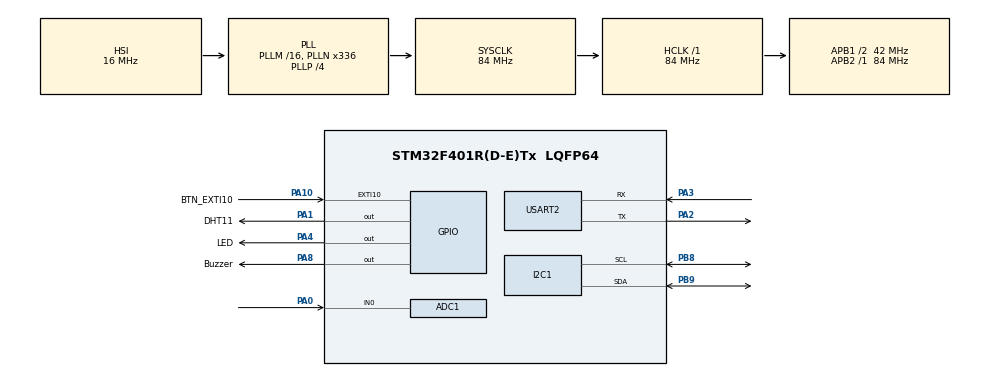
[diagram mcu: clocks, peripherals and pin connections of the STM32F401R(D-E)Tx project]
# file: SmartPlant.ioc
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ADC1.Channel-0\#ChannelRegularConversion=ADC_CHANNEL_0
ADC1.ContinuousConvMode=DISABLE
ADC1.NbrOfConversionFlag=1
ADC1.Rank-0\#ChannelRegularConversion=1
ADC1.SamplingTime-0\#ChannelRegularConversion=ADC_SAMPLETIME_3CYCLES
ADC1.master=1
FREERTOS.BinarySemaphores01=ButtonBinarySem,Dynamic,NULL,Available
FREERTOS.Events01=AlarmEvent,Dynamic,NULL
FREERTOS.Mutexes01=UartMutex,Dynamic,NULL,Available
FREERTOS.Queues01=LCDQueue,8,SensorMsg_t,0,Dynamic,NULL,NULL
FREERTOS.Tasks01=ButtonTask,40,128,StartButtonTask,Default,NULL,Dynamic,NULL,NULL;DebugTask,8,256,StartDebugTask,Default,NULL,Dynamic,NULL,NULL;WSTask,8,128,StartWSTask,Default,NULL,Dynamic,NULL,NULL;DHT11Task,8,256,StartDHT11Task,Default,NULL,Dynamic,NULL,NULL;LCDTask,8,256,StartLCDTask,Default,NULL,Dynamic,NULL,NULL;AlarmTask,40,128,StartAlarmTask,Default,NULL,Dynamic,NULL,NULL
FREERTOS.configUSE_NEWLIB_REENTRANT=1
Mcu.Family=STM32F4
Mcu.Name=STM32F401R(D-E)Tx
Mcu.Package=LQFP64
NVIC.EXTI15_10_IRQn=true\:5\:0\:false\:false\:true\:true\:true\:true\:true
NVIC.PriorityGroup=NVIC_PRIORITYGROUP_4
NVIC.TIM5_IRQn=true\:15\:0\:false\:false\:true\:false\:false\:true\:true
NVIC.TimeBase=TIM5_IRQn
NVIC.TimeBaseIP=TIM5
PA0-WKUP.Signal=ADCx_IN0
PA1.GPIO_Label=DHT11
PA1.GPIO_ModeDefaultOutputPP=GPIO_MODE_OUTPUT_OD
PA1.GPIO_PuPd=GPIO_NOPULL
PA1.GPIO_Speed=GPIO_SPEED_FREQ_HIGH
PA1.PinState=GPIO_PIN_SET
PA1.Signal=GPIO_Output
PA10.GPIO_Label=BTN_EXTI10
PA10.GPIO_ModeDefaultEXTI=GPIO_MODE_IT_FALLING
PA10.GPIO_PuPd=GPIO_PULLUP
PA10.Signal=GPXTI10
PA13.Mode=Serial_Wire
PA13.Signal=SYS_JTMS-SWDIO
PA14.Mode=Serial_Wire
PA14.Signal=SYS_JTCK-SWCLK
PA2.Mode=Asynchronous
PA2.Signal=USART2_TX
PA3.Mode=Asynchronous
PA3.Signal=USART2_RX
PA4.GPIO_Label=LED
PA4.Signal=GPIO_Output
PA8.GPIO_Label=Buzzer
PA8.Signal=GPIO_Output
PB8.Mode=I2C
PB8.Signal=I2C1_SCL
PB9.Mode=I2C
PB9.Signal=I2C1_SDA
PH0\ -\ OSC_IN.Mode=HSE-External-Oscillator
PH0\ -\ OSC_IN.Signal=RCC_OSC_IN
PH1\ -\ OSC_OUT.Mode=HSE-External-Oscillator
PH1\ -\ OSC_OUT.Signal=RCC_OSC_OUT
ProjectManager.HeapSize=0x200
ProjectManager.StackSize=0x400
ProjectManager.TargetToolchain=STM32CubeIDE
RCC.48MHZClocksFreq_Value=48000000
RCC.AHBFreq_Value=84000000
RCC.APB1CLKDivider=RCC_HCLK_DIV2
RCC.APB1Freq_Value=42000000
RCC.APB1TimFreq_Value=84000000
RCC.APB2Freq_Value=84000000
RCC.APB2TimFreq_Value=84000000
RCC.CortexFreq_Value=84000000
RCC.HCLKFreq_Value=84000000
RCC.HSE_VALUE=8000000
RCC.HSI_VALUE=16000000
RCC.LSE_VALUE=32768
RCC.PLLN=336
RCC.PLLP=RCC_PLLP_DIV4
RCC.PLLQ=7
RCC.SYSCLKFreq_VALUE=84000000
RCC.SYSCLKSource=RCC_SYSCLKSOURCE_PLLCLK
RCC.VCOOutputFreq_Value=336000000
SH.ADCx_IN0.0=ADC1_IN0,IN0
TIM1.Prescaler=84-1
USART2.VirtualMode=VM_ASYNC
VP_FREERTOS_VS_CMSIS_V2.Mode=CMSIS_V2
VP_SYS_VS_tim5.Mode=TIM5
VP_TIM1_VS_ClockSourceINT.Mode=Internal
board=NUCLEO-F401RE

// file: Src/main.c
/* USER CODE BEGIN Header */
/**
  ******************************************************************************
  * @file           : main.c
  * @brief          : Main program body
  ******************************************************************************
  * @attention
  *
  * Copyright (c) 2026 STMicroelectronics.
  * All rights reserved.
  *
  * This software is licensed under terms that can be found in the LICENSE file
  * in the root directory of this software component.
  * If no LICENSE file comes with this software, it is provided AS-IS.
  *
  ******************************************************************************
  */
/* USER CODE END Header */
#include "main.h"
#include "cmsis_os.h"

/* USER CODE BEGIN Includes */
#include "string.h"
#include <stdio.h>
#include "liquidcrystal_i2c.h"

#include "app_resources.h"
#include "lcd.h"
#include "water_level.h"
#include "dht11.h"
#include "led.h"
#include "buzzer.h"
#include "button.h"
/* USER CODE END Includes */

ADC_HandleTypeDef hadc1;

I2C_HandleTypeDef hi2c1;

TIM_HandleTypeDef htim1;

UART_HandleTypeDef huart2;

/* Definitions for ButtonTask */
osThreadId_t ButtonTaskHandle;
const osThreadAttr_t ButtonTask_attributes = {
  .name = "ButtonTask",
  .stack_size = 128 * 4,
  .priority = (osPriority_t) osPriorityHigh,
};
/* Definitions for DebugTask */
osThreadId_t DebugTaskHandle;
const osThreadAttr_t DebugTask_attributes = {
  .name = "DebugTask",
  .stack_size = 256 * 4,
  .priority = (osPriority_t) osPriorityLow,
};
/* Definitions for WSTask */
osThreadId_t WSTaskHandle;
const osThreadAttr_t WSTask_attributes = {
  .name = "WSTask",
  .stack_size = 128 * 4,
  .priority = (osPriority_t) osPriorityLow,
};
/* Definitions for DHT11Task */
osThreadId_t DHT11TaskHandle;
const osThreadAttr_t DHT11Task_attributes = {
  .name = "DHT11Task",
  .stack_size = 256 * 4,
  .priority = (osPriority_t) osPriorityLow,
};
/* Definitions for LCDTask */
osThreadId_t LCDTaskHandle;
const osThreadAttr_t LCDTask_attributes = {
  .name = "LCDTask",
  .stack_size = 256 * 4,
  .priority = (osPriority_t) osPriorityLow,
};
/* Definitions for AlarmTask */
osThreadId_t AlarmTaskHandle;
const osThreadAttr_t AlarmTask_attributes = {
  .name = "AlarmTask",
  .stack_size = 128 * 4,
  .priority = (osPriority_t) osPriorityHigh,
};
/* Definitions for LCDQueue */
osMessageQueueId_t LCDQueueHandle;
const osMessageQueueAttr_t LCDQueue_attributes = {
  .name = "LCDQueue"
};
/* Definitions for UartMutex */
osMutexId_t UartMutexHandle;
const osMutexAttr_t UartMutex_attributes = {
  .name = "UartMutex"
};
/* Definitions for ButtonBinarySem */
osSemaphoreId_t ButtonBinarySemHandle;
const osSemaphoreAttr_t ButtonBinarySem_attributes = {
  .name = "ButtonBinarySem"
};
/* Definitions for AlarmEvent */
osEventFlagsId_t AlarmEventHandle;
const osEventFlagsAttr_t AlarmEvent_attributes = {
  .name = "AlarmEvent"
};

void SystemClock_Config(void);
static void MX_GPIO_Init(void);
static void MX_USART2_UART_Init(void);
static void MX_I2C1_Init(void);
static void MX_ADC1_Init(void);
static void MX_TIM1_Init(void);
void StartButtonTask(void *argument);
void StartDebugTask(void *argument);
void StartWSTask(void *argument);
void StartDHT11Task(void *argument);
void StartLCDTask(void *argument);
void StartAlarmTask(void *argument);

/* USER CODE BEGIN 0 */
#ifdef __GNUC__
#define PUTCHAR_PROTOTYPE int __io_putchar(int ch)
#else
#define PUTCHAR_PROTOTYPE int fputc(int ch, FILE *f)
#endif

PUTCHAR_PROTOTYPE
{
	if(ch == '\n')
		HAL_UART_Transmit (&huart2, (uint8_t*) "\r", 1, 0xFFFF);
	HAL_UART_Transmit (&huart2, (uint8_t*) &ch, 1, 0xFFFF);

	return ch;
}
/* USER CODE END 0 */

int main(void)
{

  /* MCU Configuration--------------------------------------------------------*/

  /* Reset of all peripherals, Initializes the Flash interface and the Systick. */
  HAL_Init();

  /* Configure the system clock */
  SystemClock_Config();

  /* Initialize all configured peripherals */
  MX_GPIO_Init();
  MX_USART2_UART_Init();
  MX_I2C1_Init();
  MX_ADC1_Init();
  MX_TIM1_Init();
  /* USER CODE BEGIN 2 */
	WaterLevel_Init(&hadc1);
	DHT11_Init(&htim1);
	LCD_Init();
	Buzzer_set(0);
	Led_set(0);
  /* USER CODE END 2 */

  /* Init scheduler */
  osKernelInitialize();
  /* Create the mutex(es) */
  /* creation of UartMutex */
  UartMutexHandle = osMutexNew(&UartMutex_attributes);

  /* Create the semaphores(s) */
  /* creation of ButtonBinarySem */
  ButtonBinarySemHandle = osSemaphoreNew(1, 1, &ButtonBinarySem_attributes);

  /* Create the queue(s) */
  /* creation of LCDQueue */
  LCDQueueHandle = osMessageQueueNew (8, sizeof(SensorMsg_t), &LCDQueue_attributes);

  /* Create the thread(s) */
  /* creation of ButtonTask */
  ButtonTaskHandle = osThreadNew(StartButtonTask, NULL, &ButtonTask_attributes);

  /* creation of DebugTask */
  DebugTaskHandle = osThreadNew(StartDebugTask, NULL, &DebugTask_attributes);

  /* creation of WSTask */
  WSTaskHandle = osThreadNew(StartWSTask, NULL, &WSTask_attributes);

  /* creation of DHT11Task */
  DHT11TaskHandle = osThreadNew(StartDHT11Task, NULL, &DHT11Task_attributes);

  /* creation of LCDTask */
  LCDTaskHandle = osThreadNew(StartLCDTask, NULL, &LCDTask_attributes);

  /* creation of AlarmTask */
  AlarmTaskHandle = osThreadNew(StartAlarmTask, NULL, &AlarmTask_attributes);

  /* creation of AlarmEvent */
  AlarmEventHandle = osEventFlagsNew(&AlarmEvent_attributes);

  /* Start scheduler */
  osKernelStart();

  /* We should never get here as control is now taken by the scheduler */

  /* Infinite loop */
  while (1)
  {

  }
}

void SystemClock_Config(void)
{
  RCC_OscInitTypeDef RCC_OscInitStruct = {0};
  RCC_ClkInitTypeDef RCC_ClkInitStruct = {0};

  /** Configure the main internal regulator output voltage
  */
  __HAL_RCC_PWR_CLK_ENABLE();
  __HAL_PWR_VOLTAGESCALING_CONFIG(PWR_REGULATOR_VOLTAGE_SCALE2);

  /** Initializes the RCC Oscillators according to the specified parameters
  * in the RCC_OscInitTypeDef structure.
  */
  RCC_OscInitStruct.OscillatorType = RCC_OSCILLATORTYPE_HSI;
  RCC_OscInitStruct.HSIState = RCC_HSI_ON;
  RCC_OscInitStruct.HSICalibrationValue = RCC_HSICALIBRATION_DEFAULT;
  RCC_OscInitStruct.PLL.PLLState = RCC_PLL_ON;
  RCC_OscInitStruct.PLL.PLLSource = RCC_PLLSOURCE_HSI;
  RCC_OscInitStruct.PLL.PLLM = 16;
  RCC_OscInitStruct.PLL.PLLN = 336;
  RCC_OscInitStruct.PLL.PLLP = RCC_PLLP_DIV4;
  RCC_OscInitStruct.PLL.PLLQ = 7;
  if (HAL_RCC_OscConfig(&RCC_OscInitStruct) != HAL_OK)
  {
    Error_Handler();
  }

  /** Initializes the CPU, AHB and APB buses clocks
  */
  RCC_ClkInitStruct.ClockType = RCC_CLOCKTYPE_HCLK|RCC_CLOCKTYPE_SYSCLK
                              |RCC_CLOCKTYPE_PCLK1|RCC_CLOCKTYPE_PCLK2;
  RCC_ClkInitStruct.SYSCLKSource = RCC_SYSCLKSOURCE_PLLCLK;
  RCC_ClkInitStruct.AHBCLKDivider = RCC_SYSCLK_DIV1;
  RCC_ClkInitStruct.APB1CLKDivider = RCC_HCLK_DIV2;
  RCC_ClkInitStruct.APB2CLKDivider = RCC_HCLK_DIV1;

  if (HAL_RCC_ClockConfig(&RCC_ClkInitStruct, FLASH_LATENCY_2) != HAL_OK)
  {
    Error_Handler();
  }
}

static void MX_ADC1_Init(void)
{

  ADC_ChannelConfTypeDef sConfig = {0};

  /** Configure the global features of the ADC (Clock, Resolution, Data Alignment and number of conversion)
  */
  hadc1.Instance = ADC1;
  hadc1.Init.ClockPrescaler = ADC_CLOCK_SYNC_PCLK_DIV4;
  hadc1.Init.Resolution = ADC_RESOLUTION_12B;
  hadc1.Init.ScanConvMode = DISABLE;
  hadc1.Init.ContinuousConvMode = DISABLE;
  hadc1.Init.DiscontinuousConvMode = DISABLE;
  hadc1.Init.ExternalTrigConvEdge = ADC_EXTERNALTRIGCONVEDGE_NONE;
  hadc1.Init.ExternalTrigConv = ADC_SOFTWARE_START;
  hadc1.Init.DataAlign = ADC_DATAALIGN_RIGHT;
  hadc1.Init.NbrOfConversion = 1;
  hadc1.Init.DMAContinuousRequests = DISABLE;
  hadc1.Init.EOCSelection = ADC_EOC_SINGLE_CONV;
  if (HAL_ADC_Init(&hadc1) != HAL_OK)
  {
    Error_Handler();
  }

  /** Configure for the selected ADC regular channel its corresponding rank in the sequencer and its sample time.
  */
  sConfig.Channel = ADC_CHANNEL_0;
  sConfig.Rank = 1;
  sConfig.SamplingTime = ADC_SAMPLETIME_3CYCLES;
  if (HAL_ADC_ConfigChannel(&hadc1, &sConfig) != HAL_OK)
  {
    Error_Handler();
  }

}

static void MX_I2C1_Init(void)
{

  hi2c1.Instance = I2C1;
  hi2c1.Init.ClockSpeed = 100000;
  hi2c1.Init.DutyCycle = I2C_DUTYCYCLE_2;
  hi2c1.Init.OwnAddress1 = 0;
  hi2c1.Init.AddressingMode = I2C_ADDRESSINGMODE_7BIT;
  hi2c1.Init.DualAddressMode = I2C_DUALADDRESS_DISABLE;
  hi2c1.Init.OwnAddress2 = 0;
  hi2c1.Init.GeneralCallMode = I2C_GENERALCALL_DISABLE;
  hi2c1.Init.NoStretchMode = I2C_NOSTRETCH_DISABLE;
  if (HAL_I2C_Init(&hi2c1) != HAL_OK)
  {
    Error_Handler();
  }

}

static void MX_TIM1_Init(void)
{

  TIM_ClockConfigTypeDef sClockSourceConfig = {0};
  TIM_MasterConfigTypeDef sMasterConfig = {0};

  htim1.Instance = TIM1;
  htim1.Init.Prescaler = 84-1;
  htim1.Init.CounterMode = TIM_COUNTERMODE_UP;
  htim1.Init.Period = 65535;
  htim1.Init.ClockDivision = TIM_CLOCKDIVISION_DIV1;
  htim1.Init.RepetitionCounter = 0;
  htim1.Init.AutoReloadPreload = TIM_AUTORELOAD_PRELOAD_DISABLE;
  if (HAL_TIM_Base_Init(&htim1) != HAL_OK)
  {
    Error_Handler();
  }
  sClockSourceConfig.ClockSource = TIM_CLOCKSOURCE_INTERNAL;
  if (HAL_TIM_ConfigClockSource(&htim1, &sClockSourceConfig) != HAL_OK)
  {
    Error_Handler();
  }
  sMasterConfig.MasterOutputTrigger = TIM_TRGO_RESET;
  sMasterConfig.MasterSlaveMode = TIM_MASTERSLAVEMODE_DISABLE;
  if (HAL_TIMEx_MasterConfigSynchronization(&htim1, &sMasterConfig) != HAL_OK)
  {
    Error_Handler();
  }

}

static void MX_USART2_UART_Init(void)
{

  huart2.Instance = USART2;
  huart2.Init.BaudRate = 115200;
  huart2.Init.WordLength = UART_WORDLENGTH_8B;
  huart2.Init.StopBits = UART_STOPBITS_1;
  huart2.Init.Parity = UART_PARITY_NONE;
  huart2.Init.Mode = UART_MODE_TX_RX;
  huart2.Init.HwFlowCtl = UART_HWCONTROL_NONE;
  huart2.Init.OverSampling = UART_OVERSAMPLING_16;
  if (HAL_UART_Init(&huart2) != HAL_OK)
  {
    Error_Handler();
  }

}

static void MX_GPIO_Init(void)
{
  GPIO_InitTypeDef GPIO_InitStruct = {0};

  /* GPIO Ports Clock Enable */
  __HAL_RCC_GPIOH_CLK_ENABLE();
  __HAL_RCC_GPIOA_CLK_ENABLE();
  __HAL_RCC_GPIOB_CLK_ENABLE();

  /*Configure GPIO pin Output Level */
  HAL_GPIO_WritePin(DHT11_GPIO_Port, DHT11_Pin, GPIO_PIN_SET);

  /*Configure GPIO pin Output Level */
  HAL_GPIO_WritePin(GPIOA, LED_Pin|Buzzer_Pin, GPIO_PIN_RESET);

  /*Configure GPIO pin : DHT11_Pin */
  GPIO_InitStruct.Pin = DHT11_Pin;
  GPIO_InitStruct.Mode = GPIO_MODE_OUTPUT_OD;
  GPIO_InitStruct.Pull = GPIO_NOPULL;
  GPIO_InitStruct.Speed = GPIO_SPEED_FREQ_HIGH;
  HAL_GPIO_Init(DHT11_GPIO_Port, &GPIO_InitStruct);

  /*Configure GPIO pins : LED_Pin Buzzer_Pin */
  GPIO_InitStruct.Pin = LED_Pin|Buzzer_Pin;
  GPIO_InitStruct.Mode = GPIO_MODE_OUTPUT_PP;
  GPIO_InitStruct.Pull = GPIO_NOPULL;
  GPIO_InitStruct.Speed = GPIO_SPEED_FREQ_LOW;
  HAL_GPIO_Init(GPIOA, &GPIO_InitStruct);

  /*Configure GPIO pin : BTN_EXTI10_Pin */
  GPIO_InitStruct.Pin = BTN_EXTI10_Pin;
  GPIO_InitStruct.Mode = GPIO_MODE_IT_FALLING;
  GPIO_InitStruct.Pull = GPIO_PULLUP;
  HAL_GPIO_Init(BTN_EXTI10_GPIO_Port, &GPIO_InitStruct);

  /* EXTI interrupt init*/
  HAL_NVIC_SetPriority(EXTI15_10_IRQn, 5, 0);
  HAL_NVIC_EnableIRQ(EXTI15_10_IRQn);

}

void HAL_TIM_PeriodElapsedCallback(TIM_HandleTypeDef *htim)
{
  if (htim->Instance == TIM5)
  {
    HAL_IncTick();
  }
}

void Error_Handler(void)
{
  __disable_irq();
  while (1)
  {
  }
}
